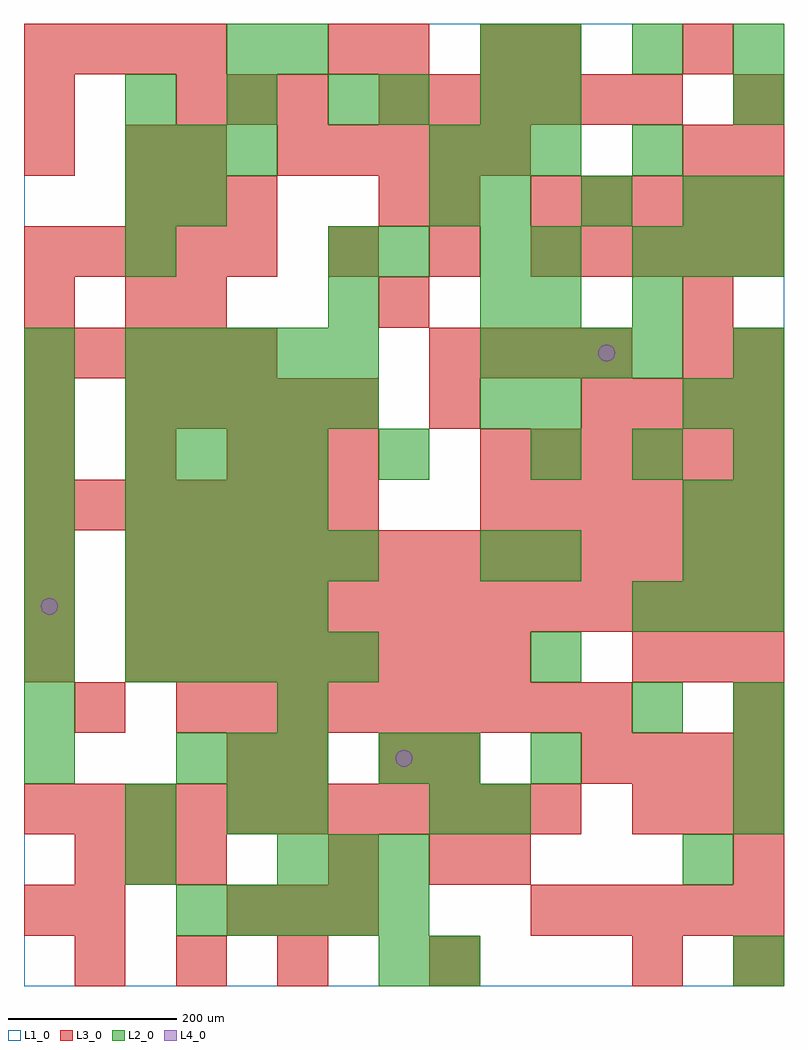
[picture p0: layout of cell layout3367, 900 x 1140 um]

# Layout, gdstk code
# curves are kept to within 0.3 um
import gdstk
lib = gdstk.Library(unit=1e-6, precision=1e-09)
def R(c, l, rs):  # rectangles x0, y0, x1, y1
    for r in rs: c.add(gdstk.rectangle(r[:2], r[2:], *l))
def A(c, l, x, y, w, h, nx, ny, dx, dy):  # array of equal rectangles
    R(c, l, [(x+i*dx, y+j*dy, x+i*dx+w, y+j*dy+h) for i in range(nx) for j in range(ny)])
def P(c, l, *ps):  # polygons
    for p in ps: c.add(gdstk.Polygon(p, *l))
L1_0 = (1, 0)
L2_0 = (2, 0)
L3_0 = (3, 0)
L4_0 = (4, 0)

layout3367 = lib.new_cell('layout3367')
R(layout3367, L1_0, [(0,0,900,1140)])
A(layout3367, L2_0, 180, 60, 60, 60, 5, 1, 60, 0)
A(layout3367, L2_0, 300, 120, 60, 60, 3, 1, 60, 0)
A(layout3367, L2_0, 840, 180, 60, 60, 1, 3, 0, 60)
A(layout3367, L2_0, 0, 240, 60, 60, 1, 9, 0, 60)
A(layout3367, L2_0, 180, 240, 60, 60, 3, 1, 60, 0)
A(layout3367, L2_0, 600, 240, 60, 60, 1, 3, 0, 120)
A(layout3367, L2_0, 120, 360, 60, 60, 5, 2, 60, 120)
A(layout3367, L2_0, 120, 420, 60, 60, 4, 2, 60, 120)
A(layout3367, L2_0, 720, 420, 60, 60, 3, 2, 60, 420)
A(layout3367, L2_0, 120, 600, 60, 60, 4, 1, 60, 0)
A(layout3367, L2_0, 600, 600, 60, 60, 3, 2, 120, 480)
A(layout3367, L2_0, 120, 660, 60, 60, 5, 2, 60, 60)
A(layout3367, L2_0, 540, 720, 60, 60, 4, 1, 60, 0)
A(layout3367, L2_0, 540, 900, 60, 60, 3, 1, 120, 0)
A(layout3367, L2_0, 120, 960, 60, 60, 3, 1, 60, 0)
A(layout3367, L2_0, 480, 960, 60, 60, 3, 1, 60, 0)
A(layout3367, L2_0, 120, 1020, 60, 60, 3, 1, 120, 0)
R(layout3367, L2_0, [(420,0,480,60), (480,0,540,60), (840,0,900,60), (120,120,180,180), (780,120,840,180), (120,180,180,240), (240,180,300,240), (300,180,360,240), (480,180,540,240), (540,180,600,240), (420,240,480,300), (480,240,540,300), (300,300,360,360), (720,300,780,360), (540,480,600,540), (780,480,840,540), (840,480,900,540), (780,540,840,600), (840,540,900,600), (420,600,480,660), (540,660,600,720), (600,660,660,720), (780,660,840,720), (840,660,900,720), (840,720,900,780), (360,780,420,840), (540,780,600,840), (600,780,660,840), (720,780,780,840), (120,840,180,900), (360,840,420,900), (420,840,480,900), (540,840,600,900), (600,840,660,900), (120,900,180,960), (180,900,240,960), (480,900,540,960), (840,900,900,960), (720,960,780,1020), (420,1020,480,1080), (540,1020,600,1080), (600,1020,660,1080), (840,1020,900,1080), (240,1080,300,1140), (300,1080,360,1140), (540,1080,600,1140)])
A(layout3367, L3_0, 60, 0, 60, 60, 3, 1, 120, 0)
A(layout3367, L3_0, 480, 0, 60, 60, 1, 3, 0, 120)
A(layout3367, L3_0, 240, 60, 60, 60, 3, 1, 60, 0)
A(layout3367, L3_0, 600, 60, 60, 60, 5, 2, 60, 840)
A(layout3367, L3_0, 60, 120, 60, 60, 3, 1, 60, 0)
A(layout3367, L3_0, 360, 120, 60, 60, 1, 3, 0, 480)
A(layout3367, L3_0, 0, 180, 60, 60, 11, 1, 60, 0)
A(layout3367, L3_0, 720, 180, 60, 60, 3, 2, 60, 180)
A(layout3367, L3_0, 660, 240, 60, 60, 4, 2, 60, 420)
A(layout3367, L3_0, 180, 300, 60, 60, 9, 1, 60, 0)
A(layout3367, L3_0, 0, 360, 60, 60, 1, 3, 0, 60)
A(layout3367, L3_0, 120, 360, 60, 60, 8, 1, 60, 0)
A(layout3367, L3_0, 120, 420, 60, 60, 13, 2, 60, 60)
A(layout3367, L3_0, 0, 540, 60, 60, 7, 1, 60, 0)
A(layout3367, L3_0, 540, 540, 60, 60, 6, 2, 60, 60)
A(layout3367, L3_0, 0, 600, 60, 60, 3, 1, 120, 0)
A(layout3367, L3_0, 120, 660, 60, 60, 5, 1, 60, 0)
A(layout3367, L3_0, 0, 720, 60, 60, 5, 2, 60, 120)
A(layout3367, L3_0, 480, 720, 60, 60, 4, 1, 60, 0)
A(layout3367, L3_0, 360, 840, 60, 60, 3, 1, 120, 0)
A(layout3367, L3_0, 660, 840, 60, 60, 4, 1, 60, 0)
A(layout3367, L3_0, 120, 900, 60, 60, 3, 1, 60, 0)
A(layout3367, L3_0, 300, 960, 60, 60, 5, 1, 60, 0)
A(layout3367, L3_0, 180, 1020, 60, 60, 3, 1, 60, 0)
A(layout3367, L3_0, 420, 1020, 60, 60, 6, 1, 60, 0)
A(layout3367, L3_0, 0, 1080, 60, 60, 4, 1, 60, 0)
R(layout3367, L3_0, [(720,0,780,60), (840,0,900,60), (0,60,60,120), (60,60,120,120), (540,120,600,180), (840,120,900,180), (240,240,300,300), (300,240,360,300), (420,240,480,300), (60,300,120,360), (840,300,900,360), (300,600,360,660), (0,660,60,720), (480,660,540,720), (780,720,840,780), (840,720,900,780), (0,780,60,840), (120,780,180,840), (180,780,240,840), (420,780,480,840), (780,780,840,840), (420,900,480,960), (480,900,540,960), (0,960,60,1020), (120,960,180,1020), (180,960,240,1020), (780,960,840,1020), (840,960,900,1020), (0,1020,60,1080), (840,1020,900,1080), (420,1080,480,1140), (540,1080,600,1140), (600,1080,660,1140), (780,1080,840,1140)])
P(layout3367, L4_0, [(40,450),(39.239,453.827),(37.071,457.071),(33.827,459.239),(30,460),(26.173,459.239),(22.929,457.071),(20.761,453.827),(20,450),(20.761,446.173),(22.929,442.929),(26.173,440.761),(30,440),(33.827,440.761),(37.071,442.929),(39.239,446.173)],
  [(460,270),(459.239,273.827),(457.071,277.071),(453.827,279.239),(450,280),(446.173,279.239),(442.929,277.071),(440.761,273.827),(440,270),(440.761,266.173),(442.929,262.929),(446.173,260.761),(450,260),(453.827,260.761),(457.071,262.929),(459.239,266.173)],
  [(700,750),(699.239,753.827),(697.071,757.071),(693.827,759.239),(690,760),(686.173,759.239),(682.929,757.071),(680.761,753.827),(680,750),(680.761,746.173),(682.929,742.929),(686.173,740.761),(690,740),(693.827,740.761),(697.071,742.929),(699.239,746.173)])

lib.write_gds('layout3367.gds')
